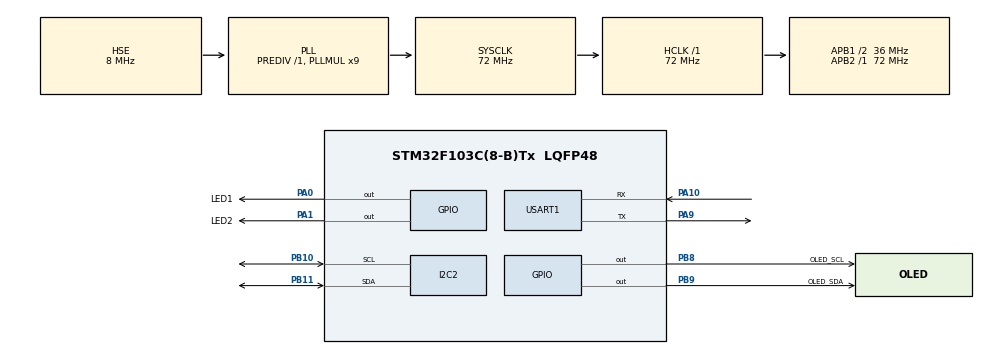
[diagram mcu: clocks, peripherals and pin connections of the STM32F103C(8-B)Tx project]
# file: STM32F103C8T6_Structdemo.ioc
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Dma.Request0=USART1_RX
Dma.Request1=USART1_TX
Dma.USART1_RX.0.Direction=DMA_PERIPH_TO_MEMORY
Dma.USART1_RX.0.Instance=DMA1_Channel5
Dma.USART1_RX.0.MemDataAlignment=DMA_MDATAALIGN_BYTE
Dma.USART1_RX.0.MemInc=DMA_MINC_ENABLE
Dma.USART1_RX.0.Mode=DMA_NORMAL
Dma.USART1_RX.0.PeriphDataAlignment=DMA_PDATAALIGN_BYTE
Dma.USART1_RX.0.PeriphInc=DMA_PINC_DISABLE
Dma.USART1_RX.0.Priority=DMA_PRIORITY_LOW
Dma.USART1_TX.1.Direction=DMA_MEMORY_TO_PERIPH
Dma.USART1_TX.1.Instance=DMA1_Channel4
Dma.USART1_TX.1.MemDataAlignment=DMA_MDATAALIGN_BYTE
Dma.USART1_TX.1.MemInc=DMA_MINC_ENABLE
Dma.USART1_TX.1.Mode=DMA_NORMAL
Dma.USART1_TX.1.PeriphDataAlignment=DMA_PDATAALIGN_BYTE
Dma.USART1_TX.1.PeriphInc=DMA_PINC_DISABLE
Dma.USART1_TX.1.Priority=DMA_PRIORITY_LOW
Mcu.Family=STM32F1
Mcu.Name=STM32F103C(8-B)Tx
Mcu.Package=LQFP48
NVIC.DMA1_Channel4_IRQn=true\:0\:0\:false\:false\:true\:false\:true\:true
NVIC.DMA1_Channel5_IRQn=true\:0\:0\:false\:false\:true\:false\:true\:true
NVIC.PriorityGroup=NVIC_PRIORITYGROUP_4
NVIC.TIM2_IRQn=true\:0\:0\:false\:false\:true\:true\:true\:true
NVIC.USART1_IRQn=true\:0\:0\:true\:false\:true\:true\:true\:true
PA0-WKUP.GPIO_Label=LED1
PA0-WKUP.GPIO_PuPd=GPIO_PULLDOWN
PA0-WKUP.PinState=GPIO_PIN_RESET
PA0-WKUP.Signal=GPIO_Output
PA1.GPIO_Label=LED2
PA1.GPIO_PuPd=GPIO_PULLUP
PA1.PinState=GPIO_PIN_SET
PA1.Signal=GPIO_Output
PA10.Mode=Asynchronous
PA10.Signal=USART1_RX
PA13.Mode=Serial_Wire
PA13.Signal=SYS_JTMS-SWDIO
PA14.Mode=Serial_Wire
PA14.Signal=SYS_JTCK-SWCLK
PA9.Mode=Asynchronous
PA9.Signal=USART1_TX
PB10.Mode=I2C
PB10.Signal=I2C2_SCL
PB11.Mode=I2C
PB11.Signal=I2C2_SDA
PB8.GPIO_Label=OLED_SCL
PB8.GPIO_ModeDefaultOutputPP=GPIO_MODE_OUTPUT_OD
PB8.GPIO_PuPd=GPIO_PULLUP
PB8.GPIO_Speed=GPIO_SPEED_FREQ_MEDIUM
PB8.PinState=GPIO_PIN_SET
PB8.Signal=GPIO_Output
PB9.GPIO_Label=OLED_SDA
PB9.GPIO_ModeDefaultOutputPP=GPIO_MODE_OUTPUT_OD
PB9.GPIO_PuPd=GPIO_PULLUP
PB9.GPIO_Speed=GPIO_SPEED_FREQ_MEDIUM
PB9.PinState=GPIO_PIN_SET
PB9.Signal=GPIO_Output
PD0-OSC_IN.Mode=HSE-External-Oscillator
PD0-OSC_IN.Signal=RCC_OSC_IN
PD1-OSC_OUT.Mode=HSE-External-Oscillator
PD1-OSC_OUT.Signal=RCC_OSC_OUT
ProjectManager.HeapSize=0x200
ProjectManager.StackSize=0x400
ProjectManager.TargetToolchain=STM32CubeIDE
RCC.AHBFreq_Value=72000000
RCC.APB1CLKDivider=RCC_HCLK_DIV2
RCC.APB1Freq_Value=36000000
RCC.APB1TimFreq_Value=72000000
RCC.APB2Freq_Value=72000000
RCC.APB2TimFreq_Value=72000000
RCC.HCLKFreq_Value=72000000
RCC.PLLMUL=RCC_PLL_MUL9
RCC.PLLSourceVirtual=RCC_PLLSOURCE_HSE
RCC.SYSCLKFreq_VALUE=72000000
RCC.SYSCLKSource=RCC_SYSCLKSOURCE_PLLCLK
RCC.USBFreq_Value=72000000
TIM2.Period=10
TIM2.Prescaler=7200
USART1.VirtualMode=VM_ASYNC
VP_TIM2_VS_ClockSourceINT.Mode=Internal
board=custom

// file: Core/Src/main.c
/* USER CODE BEGIN Header */
/**
 ******************************************************************************
 * @file           : main.c
 * @brief          : Main program body
 ******************************************************************************
 * @attention
 *
 * Copyright (c) 2025 STMicroelectronics.
 * All rights reserved.
 *
 * This software is licensed under terms that can be found in the LICENSE file
 * in the root directory of this software component.
 * If no LICENSE file comes with this software, it is provided AS-IS.
 *
 ******************************************************************************
 */
/* USER CODE END Header */
#include "main.h"
#include "dma.h"
#include "i2c.h"
#include "tim.h"
#include "usart.h"
#include "gpio.h"

/* USER CODE BEGIN Includes */
#include <string.h>
#include <stdio.h>
#include <stdlib.h>
#include "led_task.h"
#include "OLED.h"
#include "uart_driver.h"
#include "sht31.h"
#include "myuart.h"
#include "esp32_comm.h"
/* USER CODE END Includes */

/* USER CODE BEGIN PD */
#define	RX_BUF_MAX	64
#define TASKTIME    300
/* USER CODE END PD */

/* USER CODE BEGIN PV */
//extern DMA_HandleTypeDef hdma_usart1_rx;
extern uint8_t receiveData[RX_BUF_MAX];

//LED_t led1_t;
extern LED_TaskCtx_t LED_run_t;
extern LED_t led_run;

extern SHT31_t	SHT31_Dev_t;

esp32_state_t ESP32_t;

/* USER CODE END PV */

void SystemClock_Config(void);

/* USER CODE BEGIN 0 */

//void HAL_UARTEx_RxEventCallback(UART_HandleTypeDef *huart, uint16_t Size) {
//	if (huart == &huart1) {
//		receiveData[Size] = '\0';  // 关键：补 \0
//		uart_rx_flag = 1; //接受标志位
//		HAL_UARTEx_ReceiveToIdle_DMA(&huart1, receiveData, sizeof(receiveData));
//		__HAL_DMA_DISABLE_IT(&hdma_usart1_rx, DMA_IT_HT);
//	}
//}
/* USER CODE END 0 */

int main(void)
{

  /* MCU Configuration--------------------------------------------------------*/

  /* Reset of all peripherals, Initializes the Flash interface and the Systick. */
  HAL_Init();

  /* Configure the system clock */
  SystemClock_Config();

  /* Initialize all configured peripherals */
  MX_GPIO_Init();
  MX_DMA_Init();
  MX_USART1_UART_Init();
  MX_I2C2_Init();
  MX_TIM2_Init();

  /* USER CODE BEGIN 2 */
	HAL_TIM_Base_Start_IT(&htim2);

	OLED_Init();
	OLED_ShowString(1, 1, "HelloWorld!!");

	LED_Task_Init(&LED_run_t, &led_run, 500);

//	LED_Task_SetMode(&LED_run_t, LED_MODE_RUN);
//	LED_Task_SetError(&LED_run_t, 8);

	//UART 不定长接受
	Uart1_ReceiveToIdle ();

	//SHT31 温湿度传感器初始化
	SHT31_Init(&SHT31_Dev_t, &hi2c2, FastPeriodicDataModa);

	//开启SHT31 周期接收数据模式
//	SHT31_NormalPeriodicDataModa();
//	SHT31_FastPeriodicDataModa();
//	SHT31_SlowPeriodicDataModa();

	//获取SHT31数据
//	SHT31_SendTwoCmd(0xE0, 0x00);

	//ESP32状态机初始化
	ESP32_Init(&ESP32_t);

  /* USER CODE END 2 */

  /* Infinite loop */
  /* USER CODE BEGIN WHILE */
	while (1) {
		LED_Task_Loop(&LED_run_t);
		SHT31_Task(&SHT31_Dev_t);
//		Uart_Task();
		OLED_ShowNum(3, 1, ESP32_t.state, 1);
//		ESP32_Task(&ESP32_t);
		Uart_CmdGetTemp();
		HAL_Delay(1000);
    /* USER CODE END WHILE */

	}
}

void SystemClock_Config(void)
{
  RCC_OscInitTypeDef RCC_OscInitStruct = {0};
  RCC_ClkInitTypeDef RCC_ClkInitStruct = {0};

  /** Initializes the RCC Oscillators according to the specified parameters
  * in the RCC_OscInitTypeDef structure.
  */
  RCC_OscInitStruct.OscillatorType = RCC_OSCILLATORTYPE_HSE;
  RCC_OscInitStruct.HSEState = RCC_HSE_ON;
  RCC_OscInitStruct.HSEPredivValue = RCC_HSE_PREDIV_DIV1;
  RCC_OscInitStruct.HSIState = RCC_HSI_ON;
  RCC_OscInitStruct.PLL.PLLState = RCC_PLL_ON;
  RCC_OscInitStruct.PLL.PLLSource = RCC_PLLSOURCE_HSE;
  RCC_OscInitStruct.PLL.PLLMUL = RCC_PLL_MUL9;
  if (HAL_RCC_OscConfig(&RCC_OscInitStruct) != HAL_OK)
  {
    Error_Handler();
  }

  /** Initializes the CPU, AHB and APB buses clocks
  */
  RCC_ClkInitStruct.ClockType = RCC_CLOCKTYPE_HCLK|RCC_CLOCKTYPE_SYSCLK
                              |RCC_CLOCKTYPE_PCLK1|RCC_CLOCKTYPE_PCLK2;
  RCC_ClkInitStruct.SYSCLKSource = RCC_SYSCLKSOURCE_PLLCLK;
  RCC_ClkInitStruct.AHBCLKDivider = RCC_SYSCLK_DIV1;
  RCC_ClkInitStruct.APB1CLKDivider = RCC_HCLK_DIV2;
  RCC_ClkInitStruct.APB2CLKDivider = RCC_HCLK_DIV1;

  if (HAL_RCC_ClockConfig(&RCC_ClkInitStruct, FLASH_LATENCY_2) != HAL_OK)
  {
    Error_Handler();
  }
}

void Error_Handler(void)
{
	__disable_irq();
	while (1) {
	}
}
